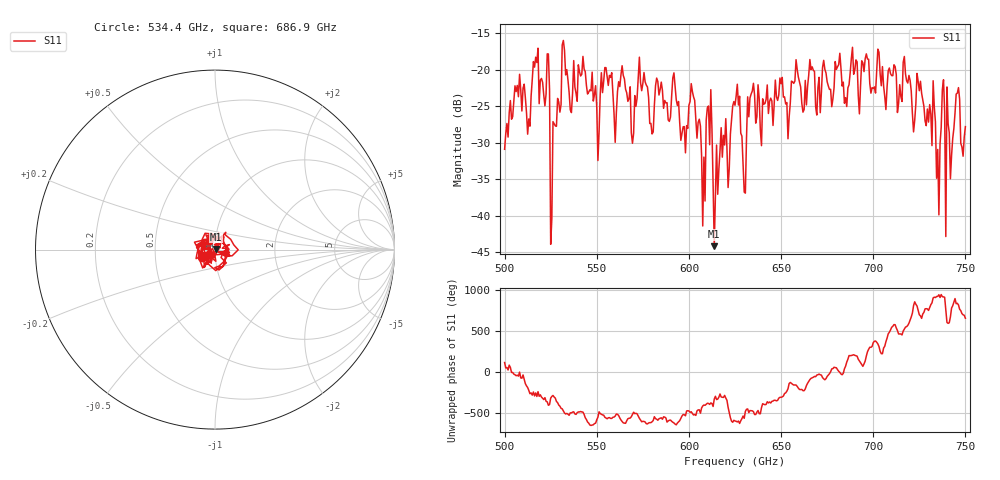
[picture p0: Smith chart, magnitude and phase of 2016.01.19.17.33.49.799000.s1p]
!Created with skrf (http://scikit-rf.org).
# GHz S RI R 50.0
!freq ReS11 ImS11
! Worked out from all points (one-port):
!   401 points, 500 GHz to 750 GHz, reference 50 ohm
!   lowest |S11| = -44.2 dB at 613.8 GHz (marker M1), VSWR 1.01, Z = 50.5 + j0.363 ohm
!   |S11| at or under -10 dB: start of sweep to end of sweep
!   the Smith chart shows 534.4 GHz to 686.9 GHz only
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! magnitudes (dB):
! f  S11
! 500 GHz  -30.9
! 506.9 GHz  -22.2
! 513.1 GHz  -26.8
! 516.9 GHz  -18.3
! 523.1 GHz  -17.8
! 526.2 GHz  -27.1
! 531.2 GHz  -16.6
! 550 GHz  -25.1
! 562.5 GHz  -22.3
! 570 GHz  -28.7
! 574.4 GHz  -22.9
! 580 GHz  -28.8
! 593.8 GHz  -24.9
! 596.9 GHz  -27.8
! 601.9 GHz  -23.0
! 607.5 GHz  -41.4
! 611.2 GHz  -30.3
! 613.8 GHz  -44.2
! 625 GHz  -24.9
! 630 GHz  -36.8
! 634.4 GHz  -22.9
! 656.2 GHz  -21.7
! 687.5 GHz  -20.4
! 718.8 GHz  -21.8
! 731.9 GHz  -30.4
! 735 GHz  -30.9
! 737.5 GHz  -22.7
! 750 GHz  -27.8
